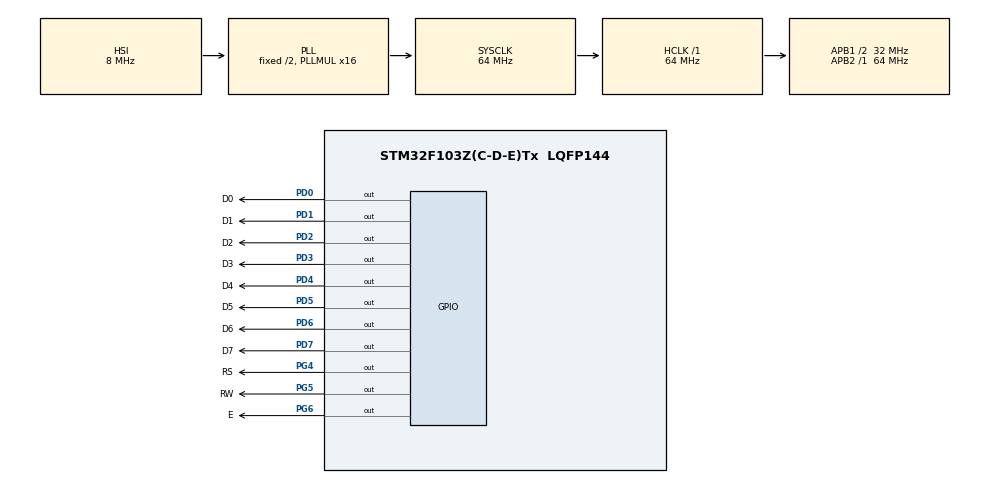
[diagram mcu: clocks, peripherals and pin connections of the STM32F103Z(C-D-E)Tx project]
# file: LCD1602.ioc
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ARM.CMSIS.5.6.0.CMSISJjCORE=true
ARM.CMSIS.5.6.0.CMSISJjCORE.apiComponent0=Device\:IRQ Controller
ARM.CMSIS.5.6.0.CMSISJjCORE.apiComponent1=Device\:OS Tick
ARM.CMSIS.5.6.0.CMSISJjCORE.apiComponent10=CMSIS Driver\:SAI
ARM.CMSIS.5.6.0.CMSISJjCORE.apiComponent11=CMSIS Driver\:I2C
ARM.CMSIS.5.6.0.CMSISJjCORE.apiComponent12=CMSIS Driver\:I2C
ARM.CMSIS.5.6.0.CMSISJjCORE.apiComponent13=CMSIS Driver\:CAN
ARM.CMSIS.5.6.0.CMSISJjCORE.apiComponent14=CMSIS Driver\:CAN
ARM.CMSIS.5.6.0.CMSISJjCORE.apiComponent15=CMSIS Driver\:Flash
ARM.CMSIS.5.6.0.CMSISJjCORE.apiComponent16=CMSIS Driver\:Flash
ARM.CMSIS.5.6.0.CMSISJjCORE.apiComponent17=CMSIS Driver\:MCI
ARM.CMSIS.5.6.0.CMSISJjCORE.apiComponent18=CMSIS Driver\:MCI
ARM.CMSIS.5.6.0.CMSISJjCORE.apiComponent19=CMSIS Driver\:NAND
ARM.CMSIS.5.6.0.CMSISJjCORE.apiComponent2=CMSIS\:RTOS
ARM.CMSIS.5.6.0.CMSISJjCORE.apiComponent20=CMSIS Driver\:NAND
ARM.CMSIS.5.6.0.CMSISJjCORE.apiComponent21=CMSIS Driver\:Ethernet
ARM.CMSIS.5.6.0.CMSISJjCORE.apiComponent22=CMSIS Driver\:Ethernet
ARM.CMSIS.5.6.0.CMSISJjCORE.apiComponent23=CMSIS Driver\:Ethernet
ARM.CMSIS.5.6.0.CMSISJjCORE.apiComponent24=CMSIS Driver\:Ethernet MAC
ARM.CMSIS.5.6.0.CMSISJjCORE.apiComponent25=CMSIS Driver\:Ethernet MAC
ARM.CMSIS.5.6.0.CMSISJjCORE.apiComponent26=CMSIS Driver\:Ethernet PHY
ARM.CMSIS.5.6.0.CMSISJjCORE.apiComponent27=CMSIS Driver\:Ethernet PHY
ARM.CMSIS.5.6.0.CMSISJjCORE.apiComponent28=CMSIS Driver\:USB Device
ARM.CMSIS.5.6.0.CMSISJjCORE.apiComponent29=CMSIS Driver\:USB Device
ARM.CMSIS.5.6.0.CMSISJjCORE.apiComponent3=CMSIS\:RTOS2
ARM.CMSIS.5.6.0.CMSISJjCORE.apiComponent30=CMSIS Driver\:USB Host
ARM.CMSIS.5.6.0.CMSISJjCORE.apiComponent31=CMSIS Driver\:USB Host
ARM.CMSIS.5.6.0.CMSISJjCORE.apiComponent32=CMSIS Driver\:WiFi
ARM.CMSIS.5.6.0.CMSISJjCORE.apiComponent33=CMSIS Driver\:WiFi
ARM.CMSIS.5.6.0.CMSISJjCORE.apiComponent4=CMSIS\:RTOS2
ARM.CMSIS.5.6.0.CMSISJjCORE.apiComponent5=CMSIS Driver\:USART
ARM.CMSIS.5.6.0.CMSISJjCORE.apiComponent6=CMSIS Driver\:USART
ARM.CMSIS.5.6.0.CMSISJjCORE.apiComponent7=CMSIS Driver\:SPI
ARM.CMSIS.5.6.0.CMSISJjCORE.apiComponent8=CMSIS Driver\:SPI
ARM.CMSIS.5.6.0.CMSISJjCORE.apiComponent9=CMSIS Driver\:SAI
ARM.CMSIS.5.6.0.CMSISJjCORE.apiDoc0=CMSIS/Core_A/Include/irq_ctrl.h
ARM.CMSIS.5.6.0.CMSISJjCORE.apiDoc1=CMSIS/RTOS2/Include/os_tick.h
ARM.CMSIS.5.6.0.CMSISJjCORE.apiDoc10=CMSIS/Driver/Include/Driver_SAI.h
ARM.CMSIS.5.6.0.CMSISJjCORE.apiDoc11=CMSIS/Documentation/Driver/html/group__i2c__interface__gr.html
ARM.CMSIS.5.6.0.CMSISJjCORE.apiDoc12=CMSIS/Driver/Include/Driver_I2C.h
ARM.CMSIS.5.6.0.CMSISJjCORE.apiDoc13=CMSIS/Documentation/Driver/html/group__can__interface__gr.html
ARM.CMSIS.5.6.0.CMSISJjCORE.apiDoc14=CMSIS/Driver/Include/Driver_CAN.h
ARM.CMSIS.5.6.0.CMSISJjCORE.apiDoc15=CMSIS/Documentation/Driver/html/group__flash__interface__gr.html
ARM.CMSIS.5.6.0.CMSISJjCORE.apiDoc16=CMSIS/Driver/Include/Driver_Flash.h
ARM.CMSIS.5.6.0.CMSISJjCORE.apiDoc17=CMSIS/Documentation/Driver/html/group__mci__interface__gr.html
ARM.CMSIS.5.6.0.CMSISJjCORE.apiDoc18=CMSIS/Driver/Include/Driver_MCI.h
ARM.CMSIS.5.6.0.CMSISJjCORE.apiDoc19=CMSIS/Documentation/Driver/html/group__nand__interface__gr.html
ARM.CMSIS.5.6.0.CMSISJjCORE.apiDoc2=CMSIS/Documentation/RTOS/html/index.html
ARM.CMSIS.5.6.0.CMSISJjCORE.apiDoc20=CMSIS/Driver/Include/Driver_NAND.h
ARM.CMSIS.5.6.0.CMSISJjCORE.apiDoc21=CMSIS/Documentation/Driver/html/group__eth__interface__gr.html
ARM.CMSIS.5.6.0.CMSISJjCORE.apiDoc22=CMSIS/Driver/Include/Driver_ETH_MAC.h
ARM.CMSIS.5.6.0.CMSISJjCORE.apiDoc23=CMSIS/Driver/Include/Driver_ETH_PHY.h
ARM.CMSIS.5.6.0.CMSISJjCORE.apiDoc24=CMSIS/Documentation/Driver/html/group__eth__mac__interface__gr.html
ARM.CMSIS.5.6.0.CMSISJjCORE.apiDoc25=CMSIS/Driver/Include/Driver_ETH_MAC.h
ARM.CMSIS.5.6.0.CMSISJjCORE.apiDoc26=CMSIS/Documentation/Driver/html/group__eth__phy__interface__gr.html
ARM.CMSIS.5.6.0.CMSISJjCORE.apiDoc27=CMSIS/Driver/Include/Driver_ETH_PHY.h
ARM.CMSIS.5.6.0.CMSISJjCORE.apiDoc28=CMSIS/Documentation/Driver/html/group__usbd__interface__gr.html
ARM.CMSIS.5.6.0.CMSISJjCORE.apiDoc29=CMSIS/Driver/Include/Driver_USBD.h
ARM.CMSIS.5.6.0.CMSISJjCORE.apiDoc3=CMSIS/Documentation/RTOS2/html/index.html
ARM.CMSIS.5.6.0.CMSISJjCORE.apiDoc30=CMSIS/Documentation/Driver/html/group__usbh__interface__gr.html
ARM.CMSIS.5.6.0.CMSISJjCORE.apiDoc31=CMSIS/Driver/Include/Driver_USBH.h
ARM.CMSIS.5.6.0.CMSISJjCORE.apiDoc32=CMSIS/Documentation/Driver/html/group__wifi__interface__gr.html
ARM.CMSIS.5.6.0.CMSISJjCORE.apiDoc33=CMSIS/Driver/Include/Driver_WiFi.h
ARM.CMSIS.5.6.0.CMSISJjCORE.apiDoc4=CMSIS/RTOS2/Include/cmsis_os2.h
ARM.CMSIS.5.6.0.CMSISJjCORE.apiDoc5=CMSIS/Documentation/Driver/html/group__usart__interface__gr.html
ARM.CMSIS.5.6.0.CMSISJjCORE.apiDoc6=CMSIS/Driver/Include/Driver_USART.h
ARM.CMSIS.5.6.0.CMSISJjCORE.apiDoc7=CMSIS/Documentation/Driver/html/group__spi__interface__gr.html
ARM.CMSIS.5.6.0.CMSISJjCORE.apiDoc8=CMSIS/Driver/Include/Driver_SPI.h
ARM.CMSIS.5.6.0.CMSISJjCORE.apiDoc9=CMSIS/Documentation/Driver/html/group__sai__interface__gr.html
ARM.CMSIS.5.6.0.CMSISJjCORE.cmp_version0=5.3.0
ARM.CMSIS.5.6.0.CMSISJjCORE.component0=CMSIS
ARM.CMSIS.5.6.0.CMSISJjCORE.componentDoc0=CMSIS/Documentation/Core/html/index.html
ARM.CMSIS.5.6.0.CMSISJjCORE.description0=CMSIS-CORE for Cortex-M, SC000, SC300, ARMv8-M, ARMv8.1-M
ARM.CMSIS.5.6.0.CMSISJjCORE.diagnostic0=This component should operate correctly.
ARM.CMSIS.5.6.0.CMSISJjCORE.group0=CORE
ARM.CMSIS.5.6.0.CMSISJjCORE.paramName0=CMSISJjCORE
ARM.CMSIS.5.6.0.CMSISJjCORE.sevirity0=none
ARM.CMSIS.5.6.0.CMSISJjCORE_apiSize=34
ARM.CMSIS.5.6.0.CMSISJjCORE_bundle=CMSIS
ARM.CMSIS.5.6.0.CMSISJjCORE_class=CMSIS
ARM.CMSIS.5.6.0.CMSISJjCORE_name=CMSIS
ARM.CMSIS.5.6.0.CMSISJjCORE_size=1
ARM.CMSIS.5.6.0.CMSISJjCORE_vendor=ARM
ARM.CMSIS.5.6.0.CMSISJjCORE_version=5.6.0
ARM.CMSIS.5.6.0_CMSISJjCORE_RteComponentsize=0
ARM.CMSIS.5.6.0_CMSISJjDSP_RteComponentsize=0
ARM.CMSIS.5.6.0_CMSISJjNNOoLib_RteComponentsize=0
ARM.CMSIS.5.6.0_CMSISJjRTOS2_RteComponentsize=0
ARM.CMSIS.5.6.0_CMSISJjRTOS_RteComponentsize=0
ARM.CMSIS.5.6.0_CMSISOoDriverJjCAN_RteComponentsize=0
ARM.CMSIS.5.6.0_CMSISOoDriverJjEthernetOoMAC_RteComponentsize=0
ARM.CMSIS.5.6.0_CMSISOoDriverJjEthernetOoPHY_RteComponentsize=0
ARM.CMSIS.5.6.0_CMSISOoDriverJjEthernet_RteComponentsize=0
ARM.CMSIS.5.6.0_CMSISOoDriverJjFlash_RteComponentsize=0
ARM.CMSIS.5.6.0_CMSISOoDriverJjI2C_RteComponentsize=0
ARM.CMSIS.5.6.0_CMSISOoDriverJjMCI_RteComponentsize=0
ARM.CMSIS.5.6.0_CMSISOoDriverJjNAND_RteComponentsize=0
ARM.CMSIS.5.6.0_CMSISOoDriverJjSAI_RteComponentsize=0
ARM.CMSIS.5.6.0_CMSISOoDriverJjSPI_RteComponentsize=0
ARM.CMSIS.5.6.0_CMSISOoDriverJjUSART_RteComponentsize=0
ARM.CMSIS.5.6.0_CMSISOoDriverJjUSBOoDevice_RteComponentsize=0
ARM.CMSIS.5.6.0_CMSISOoDriverJjUSBOoHost_RteComponentsize=0
ARM.CMSIS.5.6.0_CMSISOoDriverJjWiFi_RteComponentsize=0
ARM.CMSIS.5.6.0_DeviceJjIRQOoController_RteComponentsize=0
ARM.CMSIS.5.6.0_DeviceJjOSOoTick_RteComponentsize=0
ARM.CMSIS.5.6.0_DeviceJjStartup_RteComponentsize=0
ARM.CMSIS.5.6.0_description=CMSIS (Cortex Microcontroller Software Interface Standard)
Mcu.Family=STM32F1
Mcu.Name=STM32F103Z(C-D-E)Tx
Mcu.Package=LQFP144
NVIC.PriorityGroup=NVIC_PRIORITYGROUP_4
PA13.Mode=Serial_Wire
PA13.Signal=SYS_JTMS-SWDIO
PA14.Mode=Serial_Wire
PA14.Signal=SYS_JTCK-SWCLK
PC14-OSC32_IN.Mode=LSE-External-Oscillator
PC14-OSC32_IN.Signal=RCC_OSC32_IN
PC15-OSC32_OUT.Mode=LSE-External-Oscillator
PC15-OSC32_OUT.Signal=RCC_OSC32_OUT
PD0.GPIO_Label=D0
PD0.Signal=GPIO_Output
PD1.GPIO_Label=D1
PD1.Signal=GPIO_Output
PD2.GPIO_Label=D2
PD2.Signal=GPIO_Output
PD3.GPIO_Label=D3
PD3.Signal=GPIO_Output
PD4.GPIO_Label=D4
PD4.Signal=GPIO_Output
PD5.GPIO_Label=D5
PD5.Signal=GPIO_Output
PD6.GPIO_Label=D6
PD6.Signal=GPIO_Output
PD7.GPIO_Label=D7
PD7.Signal=GPIO_Output
PG4.GPIO_Label=RS
PG4.Signal=GPIO_Output
PG5.GPIO_Label=RW
PG5.Signal=GPIO_Output
PG6.GPIO_Label=E
PG6.Signal=GPIO_Output
ProjectManager.HeapSize=0x200
ProjectManager.StackSize=0x400
ProjectManager.TargetToolchain=MDK-ARM V5.27
RCC.AHBFreq_Value=64000000
RCC.APB1CLKDivider=RCC_HCLK_DIV2
RCC.APB1Freq_Value=32000000
RCC.APB1TimFreq_Value=64000000
RCC.APB2Freq_Value=64000000
RCC.APB2TimFreq_Value=64000000
RCC.HCLKFreq_Value=64000000
RCC.PLLMUL=RCC_PLL_MUL16
RCC.RCC_MCOSource=RCC_MCO1SOURCE_PLLCLK
RCC.RTCClockSelection=RCC_RTCCLKSOURCE_LSE
RCC.SYSCLKFreq_VALUE=64000000
RCC.SYSCLKSource=RCC_SYSCLKSOURCE_PLLCLK
RCC.USBFreq_Value=64000000
RTC.Date=20
RTC.Format=RTC_FORMAT_BIN
RTC.Hours=20
RTC.Minutes=30
RTC.Month=RTC_MONTH_MARCH
RTC.WeekDay=RTC_WEEKDAY_FRIDAY
RTC.Year=20
VP_RTC_VS_RTC_Activate.Mode=RTC_Enabled
VP_RTC_VS_RTC_Calendar.Mode=RTC_Calendar
board=custom

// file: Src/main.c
/* USER CODE BEGIN Header */
/**
  ******************************************************************************
  * @file           : main.c
  * @brief          : Main program body
  ******************************************************************************
  * @attention
  *
  * <h2><center>&copy; Copyright (c) 2020 STMicroelectronics.
  * All rights reserved.</center></h2>
  *
  * This software component is licensed by ST under BSD 3-Clause license,
  * the "License"; You may not use this file except in compliance with the
  * License. You may obtain a copy of the License at:
  *                        opensource.org/licenses/BSD-3-Clause
  *
  ******************************************************************************
  */
/* USER CODE END Header */

#include "main.h"
#include "rtc.h"
#include "gpio.h"

/* USER CODE BEGIN PV */
	char word1[] = "Hello Sako !";
	char word2[] = "1139 Days";
	char word3[] = "Since we've meet.";
	char word4[] = "762 Days";
	char word5[] = "Since we've chat.";
	char word6[] = "72 Days";
	char word7[] = "Fallen in love.";
	char word8[] = "24 Hours";
	char word9[] = "Together a Day.";
	char word10[] = "We had quarrel";
	char word11[] = "Never breakup";
	char word12[] = "We had suspect";
	char word13[] = "Never unhappy";
	char word14[] = "I was choosen";
	char word15[] = "only For You.";
	char word16[] = "The shortest poe";
	char word17[] = "m Is your name.";
	char word18[] = "To be your hero";
	char word19[] = "Away the Pain.";
	char word20[] = "I know I love";
	char word21[] = "Only You";
	char word22[] = "   I love You";
	char word23[] = "3 thousand times";
	char blank[] = " ";
	char colon[] = ":";
	char line[] = "/";
	RTC_DateTypeDef sdatestructure;
	RTC_TimeTypeDef stimestructure;

/* USER CODE END PV */

void SystemClock_Config(void);

/* USER CODE BEGIN 0 */
	void Lcd_Init(void);
	void Lcd_WriteData(char);
	void printf_lcd_words(char *,char *);
	void ReadTime(char *,char *,char *,char *,char *,char *);
	void printf_lcd_time(char *,char *,char *,char *,char *,char *,char *,char *,char *,char *,char *,char *);
	char* Int2String(int,char *);
/* USER CODE END 0 */

int main(void)
{

  /* MCU Configuration--------------------------------------------------------*/

  /* Reset of all peripherals, Initializes the Flash interface and the Systick. */
  HAL_Init();

  /* Configure the system clock */
  SystemClock_Config();

  /* Initialize all configured peripherals */
  MX_GPIO_Init();
  MX_RTC_Init();
  /* USER CODE BEGIN 2 */

	char Y[5],M[2],D[2],H[2],Min[2],Sec[2];

//	char time[] = {(2000+sdatestructure.Year), sdatestructure.Month, sdatestructure.Date,
//								stimestructure.Hours, stimestructure.Minutes, stimestructure.Seconds};
	printf_lcd_words(word1,blank);
	HAL_Delay(2500);
	printf_lcd_words(word2,word3);
	HAL_Delay(2500);
	printf_lcd_words(word4,word5);
	HAL_Delay(2500);
	printf_lcd_words(word6,word7);
	HAL_Delay(2500);
	printf_lcd_words(word8,word9);
	HAL_Delay(2500);
	printf_lcd_words(word10,word11);
	HAL_Delay(2500);
	printf_lcd_words(word12,word13);
	HAL_Delay(2500);
	printf_lcd_words(word14,word15);
	HAL_Delay(2500);
	printf_lcd_words(word16,word17);
	HAL_Delay(2500);
	printf_lcd_words(word18,word19);
	HAL_Delay(2500);
	printf_lcd_words(word20,word21);
	HAL_Delay(2500);
	printf_lcd_words(word22,word23);
	HAL_Delay(1500);
  /* USER CODE END 2 */

  /* Infinite loop */
  while (1)
  {

    /* USER CODE BEGIN 3 */
		HAL_Delay(1000);

		ReadTime(Y,M,D,H,Min,Sec);
		printf_lcd_time(word22,Y,line,M,line,D,blank,H,colon,Min,colon,Sec);

  }
  /* USER CODE END 3 */
}

void SystemClock_Config(void)
{
  RCC_OscInitTypeDef RCC_OscInitStruct = {0};
  RCC_ClkInitTypeDef RCC_ClkInitStruct = {0};
  RCC_PeriphCLKInitTypeDef PeriphClkInit = {0};

  /** Initializes the CPU, AHB and APB busses clocks
  */
  RCC_OscInitStruct.OscillatorType = RCC_OSCILLATORTYPE_HSI|RCC_OSCILLATORTYPE_LSE;
  RCC_OscInitStruct.LSEState = RCC_LSE_ON;
  RCC_OscInitStruct.HSIState = RCC_HSI_ON;
  RCC_OscInitStruct.HSICalibrationValue = RCC_HSICALIBRATION_DEFAULT;
  RCC_OscInitStruct.PLL.PLLState = RCC_PLL_ON;
  RCC_OscInitStruct.PLL.PLLSource = RCC_PLLSOURCE_HSI_DIV2;
  RCC_OscInitStruct.PLL.PLLMUL = RCC_PLL_MUL16;
  if (HAL_RCC_OscConfig(&RCC_OscInitStruct) != HAL_OK)
  {
    Error_Handler();
  }
  /** Initializes the CPU, AHB and APB busses clocks
  */
  RCC_ClkInitStruct.ClockType = RCC_CLOCKTYPE_HCLK|RCC_CLOCKTYPE_SYSCLK
                              |RCC_CLOCKTYPE_PCLK1|RCC_CLOCKTYPE_PCLK2;
  RCC_ClkInitStruct.SYSCLKSource = RCC_SYSCLKSOURCE_PLLCLK;
  RCC_ClkInitStruct.AHBCLKDivider = RCC_SYSCLK_DIV1;
  RCC_ClkInitStruct.APB1CLKDivider = RCC_HCLK_DIV2;
  RCC_ClkInitStruct.APB2CLKDivider = RCC_HCLK_DIV1;

  if (HAL_RCC_ClockConfig(&RCC_ClkInitStruct, FLASH_LATENCY_2) != HAL_OK)
  {
    Error_Handler();
  }
  PeriphClkInit.PeriphClockSelection = RCC_PERIPHCLK_RTC;
  PeriphClkInit.RTCClockSelection = RCC_RTCCLKSOURCE_LSE;
  if (HAL_RCCEx_PeriphCLKConfig(&PeriphClkInit) != HAL_OK)
  {
    Error_Handler();
  }
}

void Error_Handler(void)
{
}

/************************ (C) COPYRIGHT STMicroelectronics *****END OF FILE****/
